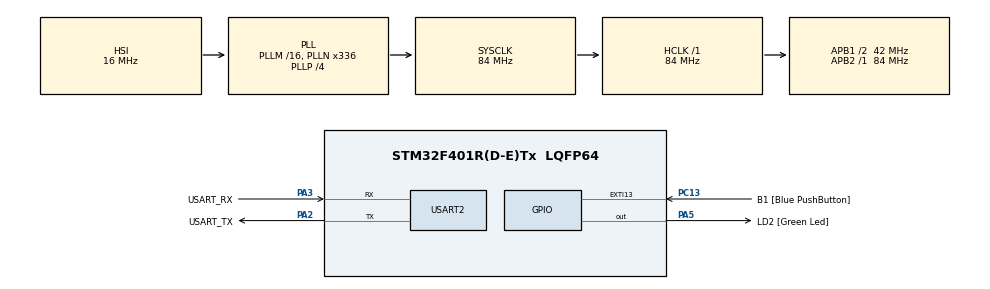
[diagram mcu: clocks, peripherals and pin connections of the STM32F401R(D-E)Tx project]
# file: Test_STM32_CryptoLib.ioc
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Mcu.Family=STM32F4
Mcu.Name=STM32F401R(D-E)Tx
Mcu.Package=LQFP64
NVIC.PriorityGroup=NVIC_PRIORITYGROUP_4
NVIC.USART2_IRQn=true\:0\:0\:false\:false\:true\:true\:true\:true
PA13.GPIO_Label=TMS
PA13.Mode=Trace_Asynchronous_SW
PA13.Signal=SYS_JTMS-SWDIO
PA14.GPIO_Label=TCK
PA14.Mode=Trace_Asynchronous_SW
PA14.Signal=SYS_JTCK-SWCLK
PA2.GPIO_Label=USART_TX
PA2.GPIO_Mode=GPIO_MODE_AF_PP
PA2.GPIO_PuPd=GPIO_NOPULL
PA2.GPIO_Speed=GPIO_SPEED_FREQ_LOW
PA2.Mode=Asynchronous
PA2.Signal=USART2_TX
PA3.GPIO_Label=USART_RX
PA3.GPIO_Mode=GPIO_MODE_AF_PP
PA3.GPIO_PuPd=GPIO_NOPULL
PA3.GPIO_Speed=GPIO_SPEED_FREQ_LOW
PA3.Mode=Asynchronous
PA3.Signal=USART2_RX
PA5.GPIO_Label=LD2 [Green Led]
PA5.GPIO_Mode=GPIO_MODE_OUTPUT_PP
PA5.GPIO_PuPd=GPIO_NOPULL
PA5.GPIO_Speed=GPIO_SPEED_FREQ_LOW
PA5.Signal=GPIO_Output
PB3.GPIO_Label=SWO
PB3.Mode=Trace_Asynchronous_SW
PB3.Signal=SYS_JTDO-SWO
PC13-ANTI_TAMP.GPIO_Label=B1 [Blue PushButton]
PC13-ANTI_TAMP.GPIO_ModeDefaultEXTI=GPIO_MODE_IT_FALLING
PC13-ANTI_TAMP.GPIO_PuPd=GPIO_NOPULL
PC13-ANTI_TAMP.Signal=GPXTI13
PC14-OSC32_IN.Mode=LSE-External-Oscillator
PC14-OSC32_IN.Signal=RCC_OSC32_IN
PC15-OSC32_OUT.Mode=LSE-External-Oscillator
PC15-OSC32_OUT.Signal=RCC_OSC32_OUT
PH0\ -\ OSC_IN.Mode=HSE-External-Clock-Source
PH0\ -\ OSC_IN.Signal=RCC_OSC_IN
PH1\ -\ OSC_OUT.Mode=HSE-External-Clock-Source
PH1\ -\ OSC_OUT.Signal=RCC_OSC_OUT
ProjectManager.HeapSize=0x200
ProjectManager.StackSize=0x200
ProjectManager.TargetToolchain=STM32CubeIDE
RCC.48MHZClocksFreq_Value=48000000
RCC.AHBFreq_Value=84000000
RCC.APB1CLKDivider=RCC_HCLK_DIV2
RCC.APB1Freq_Value=42000000
RCC.APB1TimFreq_Value=84000000
RCC.APB2Freq_Value=84000000
RCC.APB2TimFreq_Value=84000000
RCC.CortexFreq_Value=84000000
RCC.HCLKFreq_Value=84000000
RCC.HSE_VALUE=8000000
RCC.HSI_VALUE=16000000
RCC.PLLN=336
RCC.PLLP=RCC_PLLP_DIV4
RCC.PLLQ=7
RCC.SYSCLKFreq_VALUE=84000000
RCC.SYSCLKSource=RCC_SYSCLKSOURCE_PLLCLK
RCC.VCOOutputFreq_Value=336000000
USART2.VirtualMode=VM_ASYNC
VP_CRC_VS_CRC.Mode=CRC_Activate
board=NUCLEO-F401RE

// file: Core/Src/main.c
/* USER CODE BEGIN Header */
/**
  ******************************************************************************
  * @file           : main.c
  * @brief          : Main program body
  ******************************************************************************
  * @attention
  *
  * Copyright (c) 2025 STMicroelectronics.
  * All rights reserved.
  *
  * This software is licensed under terms that can be found in the LICENSE file
  * in the root directory of this software component.
  * If no LICENSE file comes with this software, it is provided AS-IS.
  *
  ******************************************************************************
  */
/* USER CODE END Header */
#include "main.h"

/* USER CODE BEGIN Includes */
#include <string.h>
#include <stdio.h>
#include "cmox_crypto.h"
#include "cachel1_armv7.h"
#include "Cryptolib.h"
/* USER CODE END Includes */

/* USER CODE BEGIN PD */
#define PUTCHAR_PROTOTYPE 			int __io_putchar(int ch)
#define UART_PORT_HANDLE_DEBUG		huart2	// Port handle where debug msgs are shown.
#define CRYPTOLIB_TEST_BUF_SIZE		100	// Bytes.
#define CRYPTOLIB_TEST_KEY_SIZE		16	// Bytes.
#define CRYPTOLIB_TEST_BLOCK_SIZE 	16	// Bytes.
#define CRYPTOLIB_TEST_HMAC_ALGO    CMOX_HMAC_SHA256_ALGO
#define CRYPTOLIB_TEST_HMAC_SIZE	4	// Minimum size recommended by NIST SP 800-107
#define CRYPTOLIB_TEST_ERROR		0
#define CRYPTOLIB_TEST_SUCCESS		1
/* USER CODE END PD */

CRC_HandleTypeDef hcrc;

UART_HandleTypeDef huart2;

/* USER CODE BEGIN PV */
uint8_t is_data_to_enc = 0; // Flag to start the encryption of data from tx_buf.
uint8_t is_data_to_dec = 0; // Flag to start the decryption of data from rx_buf_enc.
uint8_t cadena[CRYPTOLIB_TEST_BUF_SIZE] = {0};

// For AES:
uint8_t aes_key[CRYPTOLIB_TEST_KEY_SIZE] =
{
	0x2b, 0x7e, 0x15, 0x16, 0x28, 0xae, 0xd2, 0xa6, 0xab, 0xf7, 0x15, 0x88, 0x09, 0xcf, 0x4f, 0x3c
};
uint8_t aes_iv[CRYPTOLIB_TEST_BLOCK_SIZE] =
{
	0x00, 0x01, 0x02, 0x03, 0x04, 0x05, 0x06, 0x07, 0x08, 0x09, 0x0a, 0x0b, 0x0c, 0x0d, 0x0e, 0x0f
	//0x00, 0x00, 0x00, 0x00, 0x00, 0x00, 0x00, 0x00, 0x00, 0x00, 0x00, 0x00, 0x00, 0x00, 0x00, 0x00
};

// For HMAC:
uint8_t hmac_key[CRYPTOLIB_TEST_KEY_SIZE] = // Minimal size of 16 bytes for SHA-256.
{
	0xcf, 0xd4, 0xa4, 0x49, 0x10, 0xc9, 0xe5, 0x67, 0x50, 0x7a, 0xbb, 0x6c, 0xed, 0xe4, 0xfe, 0x60
};
uint8_t N_msg[] = "111000";
uint8_t T_msg[] = "EEE3500360037003800350036003700380035003600370038003500360037003800LH";
uint8_t dec_msg[CRYPTOLIB_MAX_MSG_SIZE] = {0};
uint8_t should_use_T = 0;

// Buffers without encryption.
uint8_t tx_buf[CRYPTOLIB_TEST_BUF_SIZE] = {0};
uint8_t rx_buf[CRYPTOLIB_TEST_BUF_SIZE] = {0};

// Should I only encrypt the used portion of the buffer? In that case I would have
// to create a byte with a size only know at runtime.
uint8_t tx_buf_enc[CRYPTOLIB_TEST_BUF_SIZE] = {0};
uint8_t rx_buf_enc[CRYPTOLIB_TEST_BUF_SIZE] = {0};

// For HMAC.
uint8_t hmac_tag[CRYPTOLIB_TEST_HMAC_SIZE] = {0}; // I assume the tag will be truncated by the lib to only use their 4 MSB.

size_t tx_buf_size = 0;     // N° of bytes in tx_buf containing the msg to send.
size_t tx_buf_enc_size = 0; // N° of bytes in tx_buf containing the encrypted msg to send.
size_t rx_buf_enc_size = 36; // N° of bytes in rx_buf_enc containing the received msg to decrypt.
size_t rx_buf_size = 0;     // N° of bytes in rx_buf containing the decrypted msg.
size_t hmac_tag_size = 0;   // Size in bytes of the generated tag.
/* USER CODE END PV */

void SystemClock_Config(void);
static void MX_GPIO_Init(void);
static void MX_USART2_UART_Init(void);
static void MX_CRC_Init(void);
/* USER CODE BEGIN PFP */
static void CPU_CACHE_Enable(void);
uint8_t EncryptData(void);
uint8_t DecryptData(void);
void TestCryptolib(void);
void TestEncDec(void);
void TestHmac(void);
/* USER CODE END PFP */

int main(void)
{

  /* USER CODE BEGIN 1 */

	/* Enable the CPU Cache */
	CPU_CACHE_Enable();
  /* USER CODE END 1 */

  /* MCU Configuration--------------------------------------------------------*/

  /* Reset of all peripherals, Initializes the Flash interface and the Systick. */
  HAL_Init();

  /* Configure the system clock */
  SystemClock_Config();

  /* Initialize all configured peripherals */
  MX_GPIO_Init();
  MX_USART2_UART_Init();
  MX_CRC_Init();
  /* USER CODE BEGIN 2 */
	//printf("UART initialized.\n");
	//printf("CRC initialized.\n");

	cmox_init_arg_t init_target = {CMOX_INIT_TARGET_F4, NULL};

	/* Initialize cryptographic library */
	if (cmox_initialize(&init_target) != CMOX_INIT_SUCCESS)
	{
		Error_Handler();
	}
	//printf("CMOX initialized.\n");

	// TestEncDec();
	// TestHmac();
	TestCryptolib();
	HAL_UART_Receive_IT(&huart2, cadena, 36);

	// Calculate checksum
	unsigned checksum = 0;
	for (int i = 3; i < 3 + 4 * 16; i++) {
	    checksum += T_msg[i];
	}
	int onChar = 3+64;
	T_msg[onChar++] = checksum % 256;
	T_msg[onChar++] = checksum / 256;
  /* USER CODE END 2 */

  /* Infinite loop */
  /* USER CODE BEGIN WHILE */
  while (1)
  {
	if (is_data_to_enc) {
		if (EncryptData() == CRYPTOLIB_TEST_ERROR) {
			Error_Handler();
		}
		// TODO: Calculate and append MAC after encryption.
		is_data_to_enc = 0;
	}

	if (is_data_to_dec) {
		// TODO: Verify MAC before decryption.
		TestCryptolibDecrypt();

		should_use_T = (dec_msg[0] == 'T');
		TestCryptolib();
		is_data_to_dec = 0;
		HAL_UART_Receive_IT(&huart2, cadena, 36);
	}
    /* USER CODE END WHILE */

  }
}

void SystemClock_Config(void)
{
  RCC_OscInitTypeDef RCC_OscInitStruct = {0};
  RCC_ClkInitTypeDef RCC_ClkInitStruct = {0};

  /** Configure the main internal regulator output voltage
  */
  __HAL_RCC_PWR_CLK_ENABLE();
  __HAL_PWR_VOLTAGESCALING_CONFIG(PWR_REGULATOR_VOLTAGE_SCALE2);

  /** Initializes the RCC Oscillators according to the specified parameters
  * in the RCC_OscInitTypeDef structure.
  */
  RCC_OscInitStruct.OscillatorType = RCC_OSCILLATORTYPE_HSI;
  RCC_OscInitStruct.HSIState = RCC_HSI_ON;
  RCC_OscInitStruct.HSICalibrationValue = RCC_HSICALIBRATION_DEFAULT;
  RCC_OscInitStruct.PLL.PLLState = RCC_PLL_ON;
  RCC_OscInitStruct.PLL.PLLSource = RCC_PLLSOURCE_HSI;
  RCC_OscInitStruct.PLL.PLLM = 16;
  RCC_OscInitStruct.PLL.PLLN = 336;
  RCC_OscInitStruct.PLL.PLLP = RCC_PLLP_DIV4;
  RCC_OscInitStruct.PLL.PLLQ = 7;
  if (HAL_RCC_OscConfig(&RCC_OscInitStruct) != HAL_OK)
  {
    Error_Handler();
  }

  /** Initializes the CPU, AHB and APB buses clocks
  */
  RCC_ClkInitStruct.ClockType = RCC_CLOCKTYPE_HCLK|RCC_CLOCKTYPE_SYSCLK
                              |RCC_CLOCKTYPE_PCLK1|RCC_CLOCKTYPE_PCLK2;
  RCC_ClkInitStruct.SYSCLKSource = RCC_SYSCLKSOURCE_PLLCLK;
  RCC_ClkInitStruct.AHBCLKDivider = RCC_SYSCLK_DIV1;
  RCC_ClkInitStruct.APB1CLKDivider = RCC_HCLK_DIV2;
  RCC_ClkInitStruct.APB2CLKDivider = RCC_HCLK_DIV1;

  if (HAL_RCC_ClockConfig(&RCC_ClkInitStruct, FLASH_LATENCY_2) != HAL_OK)
  {
    Error_Handler();
  }
}

static void MX_CRC_Init(void)
{

  hcrc.Instance = CRC;
  if (HAL_CRC_Init(&hcrc) != HAL_OK)
  {
    Error_Handler();
  }

}

static void MX_USART2_UART_Init(void)
{

  huart2.Instance = USART2;
  huart2.Init.BaudRate = 115200;
  huart2.Init.WordLength = UART_WORDLENGTH_8B;
  huart2.Init.StopBits = UART_STOPBITS_1;
  huart2.Init.Parity = UART_PARITY_NONE;
  huart2.Init.Mode = UART_MODE_TX_RX;
  huart2.Init.HwFlowCtl = UART_HWCONTROL_NONE;
  huart2.Init.OverSampling = UART_OVERSAMPLING_16;
  if (HAL_UART_Init(&huart2) != HAL_OK)
  {
    Error_Handler();
  }

}

static void MX_GPIO_Init(void)
{
  GPIO_InitTypeDef GPIO_InitStruct = {0};

  /* GPIO Ports Clock Enable */
  __HAL_RCC_GPIOC_CLK_ENABLE();
  __HAL_RCC_GPIOH_CLK_ENABLE();
  __HAL_RCC_GPIOA_CLK_ENABLE();
  __HAL_RCC_GPIOB_CLK_ENABLE();

  /*Configure GPIO pin Output Level */
  HAL_GPIO_WritePin(LD2_GPIO_Port, LD2_Pin, GPIO_PIN_RESET);

  /*Configure GPIO pin : B1_Pin */
  GPIO_InitStruct.Pin = B1_Pin;
  GPIO_InitStruct.Mode = GPIO_MODE_IT_FALLING;
  GPIO_InitStruct.Pull = GPIO_NOPULL;
  HAL_GPIO_Init(B1_GPIO_Port, &GPIO_InitStruct);

  /*Configure GPIO pin : LD2_Pin */
  GPIO_InitStruct.Pin = LD2_Pin;
  GPIO_InitStruct.Mode = GPIO_MODE_OUTPUT_PP;
  GPIO_InitStruct.Pull = GPIO_NOPULL;
  GPIO_InitStruct.Speed = GPIO_SPEED_FREQ_LOW;
  HAL_GPIO_Init(LD2_GPIO_Port, &GPIO_InitStruct);

}

/* USER CODE BEGIN 4 */
/**
  * @brief  CPU L1-Cache enable.
  * @param  None
  * @retval None
  */
static void CPU_CACHE_Enable(void)
{
  /* Enable I-Cache */
  SCB_EnableICache(); // warning: implicit declaration

  /* Enable D-Cache */
  SCB_EnableDCache(); // warning: implicit declaration
}

/**
 * @brief Encrypts the first tx_buf_size bytes saved in tx_buf using the AES-CBC protocol with the key
 * stored in aes_key and the initialization vector stored in aes_iv.
 * The encrypted tx_buf_enc_size bytes are saved in tx_buf_enc.
 *
 * @retval uint8_t CRYPTOLIB_TEST_ERROR on error, CRYPTOLIB_TEST_SUCCESS on success.
 */
uint8_t EncryptData()
{
	cmox_cipher_retval_t retval;
	retval = cmox_cipher_encrypt(CMOX_AESFAST_CBC_ENC_ALGO,  	/* Use AES CBC algorithm */
								tx_buf, tx_buf_size,      		/* Plaintext to encrypt */
								aes_key, sizeof(aes_key),    	/* AES key to use */
								aes_iv, sizeof(aes_iv),      	/* Initialization vector */
								tx_buf_enc, &tx_buf_enc_size); 	/* Data buffer to receive generated ciphertext */

	// TODO: Clear buffers after use.

	/* Verify API returned value */
	if (retval != CMOX_CIPHER_SUCCESS) {
		return CRYPTOLIB_TEST_ERROR;
	}

	/* Verify generated data size is the expected one */
	if (tx_buf_enc_size != tx_buf_size) {
		return CRYPTOLIB_TEST_ERROR;
	}

	return CRYPTOLIB_TEST_SUCCESS;
}

/**
 * @brief Decrypts the first rx_buf_enc_size bytes saved in rx_buf_enc using the AES-CBC protocol with the key
 * stored in aes_key and the initialization vector stored in aes_iv.
 *
 * @return uint8_t
 */
uint8_t DecryptData(void)
{
	cmox_cipher_retval_t retval;

	for(int i = 0; i < CRYPTOLIB_TEST_BUF_SIZE; i++) {
		rx_buf[i] = 0;
	}
	retval = cmox_cipher_decrypt(CMOX_AES_CBC_DEC_ALGO,			/* Use AES CBC algorithm */
								cadena + 20, 16,    /* Ciphertext to decrypt */
								aes_key, sizeof(aes_key),       /* AES key to use */
								aes_iv, sizeof(aes_iv),         /* Initialization vector */
								rx_buf, &rx_buf_size);   		/* Data buffer to receive generated plaintext */

	// TODO: Clear buffers after use.
	/* Verify API returned value */
	if (retval != CMOX_CIPHER_SUCCESS) {
		return CRYPTOLIB_TEST_ERROR;
	}

	/* Verify generated data size is the expected one */
	if (rx_buf_size != rx_buf_enc_size) {
		return CRYPTOLIB_TEST_ERROR;
	}

	return CRYPTOLIB_TEST_SUCCESS;
}

void TestCryptolib(void)
{
	Cryptolib_t crypto;

	if (Cryptolib_Init(&crypto) == CRYPTOLIB_NO_ERROR) {
		//printf("Cryptolib struct initialized.\n");
	}

	Cryptolib_key_t aes_key_test =
	{
		0x2b, 0x7e, 0x15, 0x16, 0x28, 0xae, 0xd2, 0xa6, 0xab, 0xf7, 0x15, 0x88, 0x09, 0xcf, 0x4f, 0x3c
	};

	Cryptolib_key_t hmac_key_test =
	{
		0xcf, 0xd4, 0xa4, 0x49, 0x10, 0xc9, 0xe5, 0x67, 0x50, 0x7a, 0xbb, 0x6c, 0xed, 0xe4, 0xfe, 0x60
	};

	if (Cryptolib_SetKeys(&crypto, aes_key_test, hmac_key_test) == CRYPTOLIB_NO_ERROR) {
		//printf("Cryptolib keys set.\n");
	}

	uint8_t *test_msg;
	size_t test_msg_size;
	if(should_use_T) {
		test_msg = T_msg;
		test_msg_size = sizeof(T_msg) - 1;
	} else {
		test_msg = N_msg;
		test_msg_size = sizeof(N_msg) - 1;
	}

	uint8_t enc_msg[CRYPTOLIB_ENC_MSG_SIZE] = {0};
	uint8_t dec_msg[CRYPTOLIB_MAX_MSG_SIZE] = {0};

	if (Cryptolib_Encrypt(&crypto, test_msg, test_msg_size, enc_msg) == CRYPTOLIB_NO_ERROR) {
		//printf("Encryption successful.\n");
	} else {
		printf("Encryption failed.\n");
		return;
	}

	for (int i = 0; i < CRYPTOLIB_ENC_MSG_SIZE; i++) {
		printf("%02X", enc_msg[i]);
		HAL_UART_Transmit(&huart2, (uint8_t *) (enc_msg + i), 1, 100);
		if (i == CRYPTOLIB_ENC_MSG_SIZE - 1) {
			break;
		}
	}
/*
	uint8_t decryption = Cryptolib_Decrypt(&crypto, enc_msg, dec_msg);

	if (decryption == CRYPTOLIB_NO_ERROR) {
		//printf("Decryption successful.\n");
	} else {
		printf("Decryption failed. Error code: %d\n", decryption);
		return;
	}*/
}

void TestCryptolibDecrypt(void)
{
	Cryptolib_t crypto;

	if (Cryptolib_Init(&crypto) == CRYPTOLIB_NO_ERROR) {
		//printf("Cryptolib struct initialized.\n");
	}

	if (Cryptolib_SetKeys(&crypto, aes_key, hmac_key) == CRYPTOLIB_NO_ERROR) {
		//printf("Cryptolib keys set.\n");
	}

	uint8_t decryption = Cryptolib_Decrypt(&crypto, cadena, dec_msg);

	if (decryption == CRYPTOLIB_NO_ERROR) {
		//printf("Decryption successful.\n");
	} else {
		printf("Decryption failed. Error code: %d\n", decryption);
		return;
	}
}

void TestEncDec(void)
{
	// TEST: Try to encrypt data that is not a multiple of the AES block size (16 bytes).
	printf("Encryption/decryption test start:\n");

	cmox_cipher_retval_t retval;

	// Clear buffers.
	memset(tx_buf, 0, CRYPTOLIB_TEST_BUF_SIZE);
	memset(tx_buf_enc, 0, CRYPTOLIB_TEST_BUF_SIZE);
	memset(rx_buf_enc, 0, CRYPTOLIB_TEST_BUF_SIZE);
	memset(rx_buf, 0, CRYPTOLIB_TEST_BUF_SIZE);

	tx_buf_size = 0;
	tx_buf_enc_size = 0;
	rx_buf_size = 0;
	rx_buf_enc_size = 0;

	uint8_t msg_to_enc[] = "CCTVal\000\000\000\000\000\000\000\000\000";
	memcpy(tx_buf, msg_to_enc, sizeof(msg_to_enc));

	printf("AES-CBC key: ");
	for (int i = 0; i < CRYPTOLIB_KEY_SIZE; i++) {
		printf("%02X", aes_key[i]);
		if (i == CRYPTOLIB_KEY_SIZE - 1) {
			printf("\n");
			break;
		}
		printf(", ");
	}

	printf("AES-CBC IV: ");
	for (int i = 0; i < CRYPTOLIB_IV_SIZE; i++) {
		printf("%02X", aes_iv[i]);
		if (i == CRYPTOLIB_IV_SIZE - 1) {
			printf("\n");
			break;
		}
		printf(", ");
	}

	printf("msg_to_enc: ");
	printf(msg_to_enc);
	printf("\n");

	printf("msg_to_enc (hex): \n");
	for (int i = 0; i < sizeof(msg_to_enc); i++) {
		printf("%02X", msg_to_enc[i]);
		if (i == sizeof(msg_to_enc) - 1) {
			printf("\n");
			break;
		}
		printf(", ");
	}

	printf("tx_buf: ");
	printf(tx_buf);
	printf("\n");

	tx_buf_size = sizeof(msg_to_enc);
	printf("tx_buf_size: ");
	printf("%d", tx_buf_size);
	printf("\n");

	printf("Encrypting tx_buf...\n");

	retval = cmox_cipher_encrypt(CMOX_AESFAST_CBC_ENC_ALGO,  	/* Use AES CBC algorithm */
								tx_buf, tx_buf_size,      		/* Plaintext to encrypt */
								aes_key, sizeof(aes_key),    	/* AES key to use */
								aes_iv, sizeof(aes_iv),      	/* Initialization vector */
								tx_buf_enc, &tx_buf_enc_size); 	/* Data buffer to receive generated ciphertext */

	/* Verify API returned value */
	if (retval != CMOX_CIPHER_SUCCESS) {
		printf("Error: Encryption failed.\n");
	}

	/* Verify generated data size is the expected one */
	if (tx_buf_enc_size != tx_buf_size) {
		printf("Error: Incorrect size of encrypted data.\n");
	}

	printf("tx_buf_enc: ");
	printf(tx_buf_enc);
	printf("\n");

	printf("tx_buf_enc (hex): \n");
	for (int i = 0; i < tx_buf_enc_size; i++) {
		printf("%02X", tx_buf_enc[i]);
		if (i == tx_buf_enc_size - 1) {
			printf("\n");
			break;
		}
		printf(", ");
	}

	printf("tx_buf_enc_size: ");
	printf("%d", tx_buf_enc_size);
	printf("\n");

	memcpy(rx_buf_enc, tx_buf_enc, tx_buf_enc_size);
	rx_buf_enc_size = tx_buf_enc_size;

	printf("rx_buf_enc: ");
	printf(rx_buf_enc);
	printf("\n");

	printf("rx_buf_enc_size: ");
	printf("%d", rx_buf_enc_size);
	printf("\n");

	printf("Decrypting rx_buf_enc...\n");

	retval = cmox_cipher_decrypt(CMOX_AES_CBC_DEC_ALGO,		/* Use AES CBC algorithm */
							rx_buf_enc, rx_buf_enc_size,    /* Ciphertext to decrypt */
							aes_key, sizeof(aes_key),       /* AES key to use */
							aes_iv, sizeof(aes_iv),         /* Initialization vector */
							rx_buf, &rx_buf_size);   		/* Data buffer to receive generated plaintext */

	/* Verify API returned value */
	if (retval != CMOX_CIPHER_SUCCESS) {
		printf("Error: Decryption failed.\n");
	}

	/* Verify generated data size is the expected one */
	if (rx_buf_size != rx_buf_enc_size) {
		printf("Error: Incorrect size of decrypted data.\n");
	}

	printf("rx_buf: ");
	printf(rx_buf);
	printf("\n");

	printf("rx_buf_size: ");
	printf("%d", rx_buf_size);
	printf("\n");

	if (strcmp(rx_buf, tx_buf) == 0) {
		printf("Encryption/decryption test successful.\n");
	} else {
		printf("Encryption/decryption test failed.\n");
	}

	printf("Test completed.\n");
}

void TestHmac(void)
{
	printf("HMAC authentication verification test start:\n");

	cmox_mac_retval_t retval;

	// Clear buffers.
	memset(tx_buf, 0, CRYPTOLIB_TEST_BUF_SIZE);
	memset(tx_buf_enc, 0, CRYPTOLIB_TEST_BUF_SIZE);
	memset(rx_buf_enc, 0, CRYPTOLIB_TEST_BUF_SIZE);
	memset(rx_buf, 0, CRYPTOLIB_TEST_BUF_SIZE);

	tx_buf_size = 0;
	tx_buf_enc_size = 0;
	rx_buf_size = 36;
	rx_buf_enc_size = 36;

	printf("HMAC key: ");
	for (int i = 0; i < CRYPTOLIB_KEY_SIZE; i++) {
		printf("%02X", hmac_key[i]);
		if (i == CRYPTOLIB_KEY_SIZE - 1) {
			printf("\n");
			break;
		}
		printf(", ");
	}

	uint8_t msg_to_hmac[] = "CCTVal";
	memcpy(tx_buf, msg_to_hmac, sizeof(msg_to_hmac));

	printf("msg_to_hmac: ");
	printf(msg_to_hmac);
	printf("\n");

	printf("tx_buf: ");
	printf(tx_buf);
	printf("\n");

	tx_buf_size = sizeof(msg_to_hmac);
	printf("tx_buf_size: ");
	printf("%d", tx_buf_size);
	printf("\n");

	printf("Generating tag for tx_buf...\n");

	retval = cmox_mac_compute(CRYPTOLIB_TEST_HMAC_ALGO, /* Use HMAC SHA256 algorithm */
							tx_buf, tx_buf_size,        /* Message to authenticate */
							hmac_key, sizeof(hmac_key), /* HMAC Key to use */
							NULL, 0,                    /* Custom data */
							hmac_tag,                   /* Data buffer to receive generated authnetication tag */
							sizeof(hmac_tag),    		/* Expected authentication tag size */
							&hmac_tag_size);            /* Generated tag size */

	/* Verify API returned value */
	if (retval != CMOX_MAC_SUCCESS) {
		printf("Error: Tag generation failed.\n");
	}

	/* Verify generated data size is the expected one */
	if (hmac_tag_size != sizeof(hmac_tag)) {
		printf("Error: Incorrect size of generated tag.\n");
	}

	printf("HMAC tag: ");
	for (int i = 0; i < CRYPTOLIB_TAG_SIZE; i++) {
		printf("%02X", hmac_tag[i]);
		if (i == CRYPTOLIB_TAG_SIZE - 1) {
			printf("\n");
			break;
		}
		printf(", ");
	}

	printf("hmac_tag_size: ");
	printf("%d", hmac_tag_size);
	printf("\n");

	memcpy(tx_buf_enc, tx_buf, tx_buf_size);
	// Can't use strcat() as this will overwrite the last element of tx_buf_enc if this is '\0' (Null terminated string).
	memcpy(tx_buf_enc + tx_buf_size, hmac_tag, hmac_tag_size);
	tx_buf_enc_size = tx_buf_size + hmac_tag_size;

	memcpy(rx_buf_enc, tx_buf_enc, tx_buf_enc_size);
	rx_buf_enc_size = tx_buf_enc_size;

	printf("rx_buf_enc: ");
	printf(rx_buf_enc);	// This won't display the tag as the '\0' char is placed before the tag.
	printf("\n");

	printf("rx_buf_enc_size: ");
	printf("%d", rx_buf_enc_size);
	printf("\n");

	uint8_t hmac_tag_extracted[sizeof(hmac_tag)] = {0};

	// WARN: In the receiver the msg structure must be known beforehand to be able to verify it.
	memcpy(hmac_tag_extracted, rx_buf_enc + tx_buf_size, hmac_tag_size);
	memset(rx_buf_enc + tx_buf_size, 0, hmac_tag_size);
	rx_buf_enc_size -= hmac_tag_size;

	printf("Verifying rx_buf_enc's MAC...\n");

	retval = cmox_mac_verify(CRYPTOLIB_TEST_HMAC_ALGO,  /* Use HMAC SHA256 algorithm */
							rx_buf_enc, rx_buf_enc_size,/* Message to verify */
							hmac_key, sizeof(hmac_key), /* HMAC Key to use */
							NULL, 0,              		/* Custom data */
							hmac_tag_extracted,         /* Authentication tag */
							hmac_tag_size);      		/* tag size */

	/* Verify API returned value */
	if (retval != CMOX_MAC_AUTH_SUCCESS) {
		printf("Error: MAC verification failed.\n");
	} else {
		printf("MAC verification successful.\n");
	}

	memcpy(rx_buf, rx_buf_enc, rx_buf_enc_size);
	rx_buf_size = rx_buf_enc_size;

	printf("rx_buf: ");
	printf(rx_buf);
	printf("\n");

	printf("rx_buf_size: ");
	printf("%d", rx_buf_size);
	printf("\n");

	printf("HMAC authentication verification test successful.\n");
	printf("Test completed.\n");
}

void HAL_UART_RxCpltCallback(UART_HandleTypeDef *huart)
{
	/* Prevent unused argument(s) compilation warning */
	if(huart->Instance != USART2)
	{
		return;
	}
	is_data_to_dec = 1;
}

/**
  * @brief  Retargets the C library printf function to the USART.
  *   None
  * @retval None
  */
PUTCHAR_PROTOTYPE
{
	/* Place your implementation of fputc here */
	/* e.g. write a character to the USART1 and Loop until the end of transmission */
	HAL_UART_Transmit(&UART_PORT_HANDLE_DEBUG, (uint8_t *)&ch, 1, 0xFFFF);

	return ch;
}

/* USER CODE END 4 */

void Error_Handler(void)
{
  /* USER CODE BEGIN Error_Handler_Debug */
  /* User can add his own implementation to report the HAL error return state */
  __disable_irq();
  printf("Error_Handler() triggered.\n");
  while (1)
  {
  }
  /* USER CODE END Error_Handler_Debug */
}
